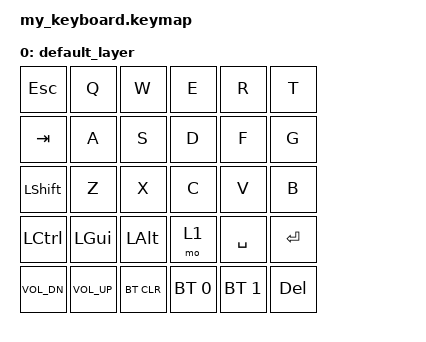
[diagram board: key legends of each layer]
#include <behaviors.dtsi>
#include <dt-bindings/zmk/keys.h>
#include <dt-bindings/zmk/bt.h>

/ {
    keymap {
        compatible = "zmk,keymap";
        default_layer {
            bindings = <
                &kp ESC   &kp Q  &kp W  &kp E  &kp R  &kp T
                &kp TAB   &kp A  &kp S  &kp D  &kp F  &kp G
                &kp LSHFT &kp Z  &kp X  &kp C  &kp V  &kp B
                &kp LCTRL &kp LGUI &kp LALT &mo 1 &kp SPACE &kp ENTER
                &kp C_VOL_DN &kp C_VOL_UP &bt BT_CLR &bt BT_SEL 0 &bt BT_SEL 1 &kp DEL
            >;
        };
    };
};
